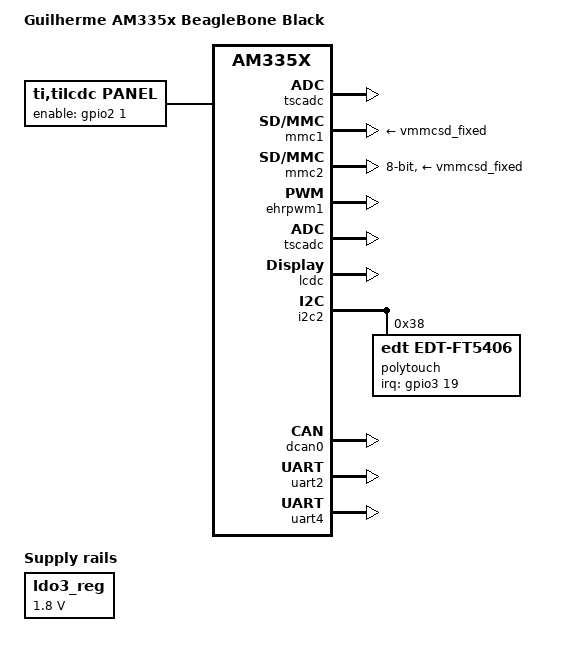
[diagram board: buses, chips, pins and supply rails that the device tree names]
/dts-v1/;

#include "am335x-boneblack.dts"
//#include "teste_overlay.dts"

/ {
	model = "Guilherme AM335x BeagleBone Black";

	chosen {
		base_dtb = "am335x-boneblack.dts";
		base_dtb_timestamp = __TIMESTAMP__;
		bootargs = "console=ttyS0,115200,n8 ip=10.4.1.2 root=/dev/mmcblk0p2 rw rootwait";
		stdout-path = &uart0;
	};

	leds {
		led2 {
			default-state = "okay";
		};

		led3 {
			default-state = "okay";
		}; 

		led4 {
			default-state = "okay";
		};

		led5 {
			default-state = "okay";
		};
	};

    fragment@0 {
		target = <&tscadc>;
		__overlay__ {
			status = "okay";
			adc {
				ti,adc-channels = <0 1 2 3 4 5 6 7>;
			};
		};
	};
}; 

/ {
    /* identification */
	part-number = "BB-ADC";

	/* state the resources this cape uses */
	exclusive-use =
		/* the pin header uses */
		"P9.39",	/* AIN0 */
		"P9.40",	/* AIN1 */
		"P9.37",	/* AIN2 */
		"P9.38",	/* AIN3 */
		"P9.33",	/* AIN4 */
		"P9.36",	/* AIN5 */
		"P9.35",	/* AIN6 */
		/* the hardware IP uses */
		"tscadc";

	fragment@1 {
		target = <&ocp>;
		_overlay_ {
			/* avoid stupid warning */
			#address-cells = <1>;
			#size-cells = <1>;

			tscadc {
				compatible = "ti,ti-tscadc";
				reg = <0x44e0d000 0x1000>;

				interrupt-parent = <&intc>;
				interrupts = <16>;
				ti,hwmods = "adc_tsc";
				status = "okay";

				adc {
					ti,adc-channels = <0 1 2 3 4 5 6 7>;
				};
			};

			test_helper: helper {
				compatible = "bone-iio-helper";
				vsense-name  = "AIN0", "AIN1", "AIN2", "AIN3", "AIN4", "AIN5", "AIN6", "AIN7";
				vsense-scale = <100     100     100     100     100     100     100     100>;
				status = "okay";
			};
		};
	};
};

//"fatload mmc 0:1 0x81000000 zImage;fatload mmc 0:1 0x82000000 am335x-boneblack-guilherme.dtb; fdt addr 0x82000000; fatload mmc 0:1 0x83000000 BB-PWM0-00A0.dtbo; fdt resize 8192; fdt apply 0x83000000; bootz 0x81000000 - 0x82000000;"
&ldo3_reg {
    regulator-min-microvolt = <1800000>;
    regulator-max-microvolt = <1800000>;
    regulator-always-on;
};

&mmc1 {
    vmmc-supply = <&vmmcsd_fixed>;
};

&mmc2 {
    vmmc-supply = <&vmmcsd_fixed>;
    pinctrl-names = "default";
    pinctrl-0 = <&emmc_pins>;
    bus-width = <8>;
    status = "okay";
};

&am33xx_pinmux {
    backlight_pin: backlight_pin {
        pinctrl-single,pins = < AM33XX_IOPAD(0x848, PIN_OUTPUT | MUX_MODE6) >; /* P9.14, gpio1[18] */
    };

    ehrpwm1_pins: ehrpwm1_pins {
        pinctrl-single,pins = <
            AM33XX_IOPAD(0x848, PIN_OUTPUT | MUX_MODE6) /* P9.14, EHRPWM1A */
            AM33XX_IOPAD(0x84c, PIN_OUTPUT | MUX_MODE6) /* P9.16, EHRPWM1B */
        >;
    };
};

&ehrpwm1 {
    pinctrl-names = "default";
    pinctrl-0 = <&backlight_pin>;
    status = "okay";
};


&tscadc {
    status = "okay";
};

&am335x_adc {
    ti,adc-channels = <0 1 2 3 4 5 6 7>;
};

&lcdc {
    status = "okay";
    blue-and-red-wiring = "crossed";
};

/ {
    lcd0: display {
        status = "okay";
        compatible = "ti,tilcdc,panel";
        label = "lcd";
        pinctrl-names = "default";
        pinctrl-0 = <&lcd_pins>;
        enable-gpios = <&gpio2 1 GPIO_ACTIVE_HIGH>; /* P8.19 */

        panel-info {
            ac-bias = <255>;
            ac-bias-intrpt = <0>;
            dma-burst-sz = <16>;
            bpp = <32>;
            fdd = <0x80>;
            sync-edge = <0>;
            sync-ctrl = <0>;
            raster-order = <0>;
            fifo-th = <0>;
        };

        display-timings {
            native-mode = <&timing0>;
            timing0: 800x480 {
                clock-frequency = <45000000>;
                hactive = <800>;
                vactive = <480>;
                hfront-porch = <40>;
                hback-porch = <40>;
                hsync-len = <48>;
                vback-porch = <29>;
                vfront-porch = <13>;
                vsync-len = <3>;
                hsync-active = <0>;
                vsync-active = <0>;
            };
        };
    };
};

&i2c2 {
    polytouch: edt-ft5x06@38 {
        compatible = "edt,edt-ft5406", "edt,edt-ft5x06";
        reg = <0x38>;
        pinctrl-names = "default";
        pinctrl-0 = <&touchscreen_pins>;
        interrupt-parent = <&gpio3>;
        interrupts = <19 0>; /* P9.27 */
        touchscreen-size-x = <799>;
        touchscreen-size-y = <479>;
        xfuzz = <0>;
        yfuzz = <0>;
    };
};

&rtc {
    system-power-controller;
};

&dcan0 {
    status = "okay";
    pinctrl-names = "default";
    pinctrl-0 = <&uart1_pins>;
};

&uart2 {
    status = "okay";
    pinctrl-names = "default";
    pinctrl-0 = <&uart2_pins>;
};

&uart4 {
    status = "okay";
    pinctrl-names = "default";
    pinctrl-0 = <&uart4_pins>;
};
